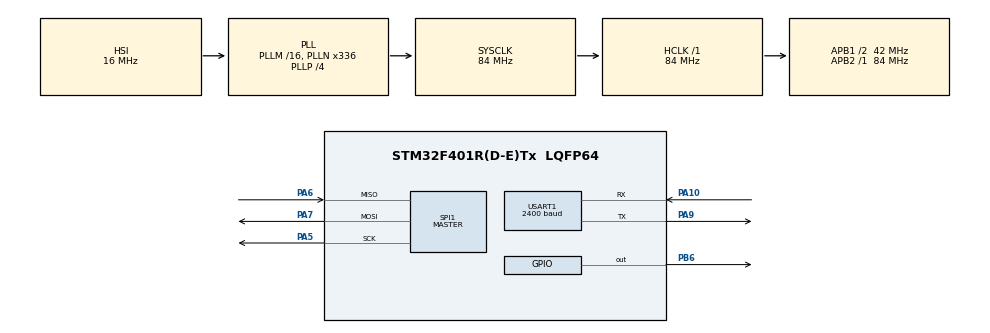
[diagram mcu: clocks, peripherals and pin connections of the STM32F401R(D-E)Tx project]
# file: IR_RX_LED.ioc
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Dma.Request0=SPI1_TX
Dma.SPI1_TX.0.Direction=DMA_MEMORY_TO_PERIPH
Dma.SPI1_TX.0.FIFOMode=DMA_FIFOMODE_DISABLE
Dma.SPI1_TX.0.Instance=DMA2_Stream3
Dma.SPI1_TX.0.MemDataAlignment=DMA_MDATAALIGN_BYTE
Dma.SPI1_TX.0.MemInc=DMA_MINC_ENABLE
Dma.SPI1_TX.0.Mode=DMA_NORMAL
Dma.SPI1_TX.0.PeriphDataAlignment=DMA_PDATAALIGN_BYTE
Dma.SPI1_TX.0.PeriphInc=DMA_PINC_DISABLE
Dma.SPI1_TX.0.Priority=DMA_PRIORITY_HIGH
Mcu.Family=STM32F4
Mcu.Name=STM32F401R(D-E)Tx
Mcu.Package=LQFP64
NVIC.DMA2_Stream3_IRQn=true\:0\:0\:false\:false\:true\:false\:true\:true
NVIC.PriorityGroup=NVIC_PRIORITYGROUP_4
NVIC.SPI1_IRQn=true\:0\:0\:false\:false\:true\:true\:true\:true
NVIC.TIM5_IRQn=true\:3\:0\:true\:false\:true\:true\:true\:true
NVIC.USART1_IRQn=true\:0\:0\:false\:false\:true\:true\:true\:true
PA10.Mode=Asynchronous
PA10.Signal=USART1_RX
PA13.GPIO_Label=TMS
PA13.Mode=Trace_Asynchronous_SW
PA13.Signal=SYS_JTMS-SWDIO
PA14.GPIO_Label=TCK
PA14.Mode=Trace_Asynchronous_SW
PA14.Signal=SYS_JTCK-SWCLK
PA5.Mode=Full_Duplex_Master
PA5.Signal=SPI1_SCK
PA6.Mode=Full_Duplex_Master
PA6.Signal=SPI1_MISO
PA7.Mode=Full_Duplex_Master
PA7.Signal=SPI1_MOSI
PA9.Mode=Asynchronous
PA9.Signal=USART1_TX
PB3.GPIO_Label=SWO
PB3.Mode=Trace_Asynchronous_SW
PB3.Signal=SYS_JTDO-SWO
PB6.Signal=GPIO_Output
PC14-OSC32_IN.Mode=LSE-External-Oscillator
PC14-OSC32_IN.Signal=RCC_OSC32_IN
PC15-OSC32_OUT.Mode=LSE-External-Oscillator
PC15-OSC32_OUT.Signal=RCC_OSC32_OUT
PH0\ -\ OSC_IN.Mode=HSE-External-Clock-Source
PH0\ -\ OSC_IN.Signal=RCC_OSC_IN
PH1\ -\ OSC_OUT.Mode=HSE-External-Clock-Source
PH1\ -\ OSC_OUT.Signal=RCC_OSC_OUT
ProjectManager.HeapSize=0x200
ProjectManager.StackSize=0x400
ProjectManager.TargetToolchain=STM32CubeIDE
RCC.48MHZClocksFreq_Value=48000000
RCC.AHBFreq_Value=84000000
RCC.APB1CLKDivider=RCC_HCLK_DIV2
RCC.APB1Freq_Value=42000000
RCC.APB1TimFreq_Value=84000000
RCC.APB2Freq_Value=84000000
RCC.APB2TimFreq_Value=84000000
RCC.CortexFreq_Value=84000000
RCC.HCLKFreq_Value=84000000
RCC.HSE_VALUE=8000000
RCC.HSI_VALUE=16000000
RCC.PLLN=336
RCC.PLLP=RCC_PLLP_DIV4
RCC.PLLQ=7
RCC.SYSCLKFreq_VALUE=84000000
RCC.SYSCLKSource=RCC_SYSCLKSOURCE_PLLCLK
RCC.VCOOutputFreq_Value=336000000
SPI1.BaudRatePrescaler=SPI_BAUDRATEPRESCALER_4
SPI1.Direction=SPI_DIRECTION_2LINES
SPI1.Mode=SPI_MODE_MASTER
SPI1.VirtualType=VM_MASTER
TIM5.Period=3359
TIM5.Prescaler=99
USART1.BaudRate=2400
USART1.VirtualMode=VM_ASYNC
VP_TIM5_VS_ClockSourceINT.Mode=Internal
board=NUCLEO-F401RE

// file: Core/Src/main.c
/* USER CODE BEGIN Header */
/**
  ******************************************************************************
  * @file           : main.c
  * @brief          : Main program body
  ******************************************************************************
  * @attention
  *
  * Copyright (c) 2026 STMicroelectronics.
  * All rights reserved.
  *
  * This software is licensed under terms that can be found in the LICENSE file
  * in the root directory of this software component.
  * If no LICENSE file comes with this software, it is provided AS-IS.
  *
  ******************************************************************************
  */
/* USER CODE END Header */
#include "main.h"

/* USER CODE BEGIN Includes */
#include "stdio.h"
#include "string.h"

/* USER CODE END Includes */

/* USER CODE BEGIN PTD */
// Keyboard
typedef struct {
	char character;
	uint8_t idx;
} button;

/* USER CODE END PTD */

/* USER CODE BEGIN PD */
// KEYBOARD
// Keyboard Dimension
#define DIM 4

// LED MATRIX
#define NUM_COLS_LED 5
#define NUM_SYMBOLS 16
#define RCLK_PORT GPIOB
#define RCLK_PIN  GPIO_PIN_6

/* USER CODE END PD */

SPI_HandleTypeDef hspi1;
DMA_HandleTypeDef hdma_spi1_tx;

TIM_HandleTypeDef htim5;

UART_HandleTypeDef huart1;

/* USER CODE BEGIN PV */
// KEYBOARD
volatile button keyboard[DIM][DIM] = {
    { {'C', 12}, {'D', 13}, {'E', 14}, {'F', 15} },
    { {'8', 8}, {'9', 9}, {'A', 10}, {'B', 11} },
    { {'4', 4}, {'5', 5}, {'6', 6}, {'7', 7} },
    { {'0', 0}, {'1', 1}, {'2', 2}, {'3', 3} }
};

// RX IR
uint8_t rx_data_buffer; // Byte ricevuto dall'IR
volatile uint8_t ir_received_char = 0;
volatile uint8_t ir_data_ready = 0;

// LED MATRIX
static const uint8_t COL_LED[NUM_COLS_LED] = {16, 8, 4, 2, 1};
static const uint8_t SYMBOLS[NUM_SYMBOLS+1][NUM_COLS_LED] = {
    { 62,  69,  73,  81,  62}, // '0'
    {  0,  33, 127,   1,   0}, // '1'
    { 33,  67,  69,  73,  49}, // '2'
    { 34,  65,  73,  73,  54}, // '3'
    { 12,  20,  36, 127,   4}, // '4'
    {114,  81,  81,  81,  78}, // '5'
    { 30,  41,  73,  73,   6}, // '6'
    { 64,  71,  72,  80,  96}, // '7'
    { 54,  73,  73,  73,  54}, // '8'
    { 48,  73,  73,  74,  60}, // '9'
    { 63,  72,  72,  72,  63}, // 'A'
    {127,  73,  73,  73,  54}, // 'B'
    { 62,  65,  65,  65,  34}, // 'C'
    {127,  65,  65,  65,  62}, // 'D'
    {127,  73,  73,  73,  65}, // 'E'
    {127,  72,  72,  72,  64}, // 'F'
    {  0,   0,   0,   0,   0}  // spento
};
static volatile uint8_t sym_idx = NUM_SYMBOLS;   // cosa mostra la matrice (spenta se NUM_SYMBOLS)
static uint8_t col_cnt = 0;                // colonna della matrice in refresh

/* USER CODE END PV */

void SystemClock_Config(void);
static void MX_GPIO_Init(void);
static void MX_DMA_Init(void);
static void MX_USART1_UART_Init(void);
static void MX_SPI1_Init(void);
static void MX_TIM5_Init(void);

/* USER CODE BEGIN 0 */
static inline void spi_send(uint8_t col, uint8_t row){
	static uint8_t buffer[2]; // 2 byte
	// DAISY RING
	buffer[0]=row; // prima la riga
	buffer[1]=col; // poi la colonna

	// Ogni 4 ms trasmettiamo (refreshamo)
	HAL_SPI_Transmit_DMA(&hspi1, buffer, 2);
}

void HAL_SPI_TxCpltCallback(SPI_HandleTypeDef *hspi){
	if(hspi->Instance==SPI1){
		// Una volta terminata la comunicazione dei 2 byte
		// diamo un impulso su RCLK per far scattare il latch
		// dei due shift register
		HAL_GPIO_WritePin(RCLK_PORT, RCLK_PIN, GPIO_PIN_SET);
		HAL_GPIO_WritePin(RCLK_PORT, RCLK_PIN, GPIO_PIN_RESET);
	}
}

void HAL_TIM_PeriodElapsedCallback(TIM_HandleTypeDef *htim)
{
    if (htim->Instance == TIM5) { // 4ms, refresh colonne
    	spi_send(COL_LED[col_cnt], SYMBOLS[sym_idx][col_cnt]);
    	col_cnt=(col_cnt+1)%NUM_COLS_LED;
    }

}

void HAL_UART_RxCpltCallback(UART_HandleTypeDef *huart)
{
    if (huart->Instance == USART1)
    {
    	ir_received_char = rx_data_buffer;
    	ir_data_ready = 1; // Siamo pronti a scrivere sulla matrice Led
        HAL_UART_Receive_IT(&huart1, &rx_data_buffer, 1); // ci rimettiamo in ascolto
    }

}

/* Logica ASCII nel while
 * static uint8_t char_to_idx(uint8_t c)
{
    if (c >= '0' && c <= '9') return c - '0';
    if (c >= 'A' && c <= 'F') return c - 'A' + 10;
    return NUM_SYMBOLS;   // carattere sconosciuto -> matrice spenta
}
 */

/* USER CODE END 0 */

int main(void)
{

  /* MCU Configuration--------------------------------------------------------*/

  /* Reset of all peripherals, Initializes the Flash interface and the Systick. */
  HAL_Init();

  /* Configure the system clock */
  SystemClock_Config();

  /* Initialize all configured peripherals */
  MX_GPIO_Init();
  MX_DMA_Init();
  MX_USART1_UART_Init();
  MX_SPI1_Init();
  MX_TIM5_Init();
  /* USER CODE BEGIN 2 */

  // Prepara alla ricezione la UART1
  HAL_UART_Receive_IT(&huart1, &rx_data_buffer, 1);

  // Matrice Led
  HAL_TIM_Base_Start_IT(&htim5);

  /* USER CODE END 2 */

  /* Infinite loop */
  while (1)
  {

    /* USER CODE BEGIN 3 */

	  	  // MATRICE LED
	  	  if (ir_data_ready==1){
	  		  // Cerca l'idx del simbolo da mostrare

	  		  // Tramite i for
	  		  for (int j=0; j<DIM; j++){
	  			  for (int i=0; i<DIM; i++){
	  				  if(ir_received_char == keyboard[i][j].character){
	  					  sym_idx=keyboard[i][j].idx;
	  				  }
	  			  }
	  		  }
	  		  ir_data_ready = 0;

	  		  /* o tramite la logica ASCII
	  		   * if (ir_data_ready) {
					sym_idx = char_to_idx(ir_received_char);
					ir_data_ready = 0;
				}
	  		   */
	  	  }

  }
  /* USER CODE END 3 */
}

void SystemClock_Config(void)
{
  RCC_OscInitTypeDef RCC_OscInitStruct = {0};
  RCC_ClkInitTypeDef RCC_ClkInitStruct = {0};

  /** Configure the main internal regulator output voltage
  */
  __HAL_RCC_PWR_CLK_ENABLE();
  __HAL_PWR_VOLTAGESCALING_CONFIG(PWR_REGULATOR_VOLTAGE_SCALE2);

  /** Initializes the RCC Oscillators according to the specified parameters
  * in the RCC_OscInitTypeDef structure.
  */
  RCC_OscInitStruct.OscillatorType = RCC_OSCILLATORTYPE_HSI;
  RCC_OscInitStruct.HSIState = RCC_HSI_ON;
  RCC_OscInitStruct.HSICalibrationValue = RCC_HSICALIBRATION_DEFAULT;
  RCC_OscInitStruct.PLL.PLLState = RCC_PLL_ON;
  RCC_OscInitStruct.PLL.PLLSource = RCC_PLLSOURCE_HSI;
  RCC_OscInitStruct.PLL.PLLM = 16;
  RCC_OscInitStruct.PLL.PLLN = 336;
  RCC_OscInitStruct.PLL.PLLP = RCC_PLLP_DIV4;
  RCC_OscInitStruct.PLL.PLLQ = 7;
  if (HAL_RCC_OscConfig(&RCC_OscInitStruct) != HAL_OK)
  {
    Error_Handler();
  }

  /** Initializes the CPU, AHB and APB buses clocks
  */
  RCC_ClkInitStruct.ClockType = RCC_CLOCKTYPE_HCLK|RCC_CLOCKTYPE_SYSCLK
                              |RCC_CLOCKTYPE_PCLK1|RCC_CLOCKTYPE_PCLK2;
  RCC_ClkInitStruct.SYSCLKSource = RCC_SYSCLKSOURCE_PLLCLK;
  RCC_ClkInitStruct.AHBCLKDivider = RCC_SYSCLK_DIV1;
  RCC_ClkInitStruct.APB1CLKDivider = RCC_HCLK_DIV2;
  RCC_ClkInitStruct.APB2CLKDivider = RCC_HCLK_DIV1;

  if (HAL_RCC_ClockConfig(&RCC_ClkInitStruct, FLASH_LATENCY_2) != HAL_OK)
  {
    Error_Handler();
  }
}

static void MX_SPI1_Init(void)
{

  /* SPI1 parameter configuration*/
  hspi1.Instance = SPI1;
  hspi1.Init.Mode = SPI_MODE_MASTER;
  hspi1.Init.Direction = SPI_DIRECTION_2LINES;
  hspi1.Init.DataSize = SPI_DATASIZE_8BIT;
  hspi1.Init.CLKPolarity = SPI_POLARITY_LOW;
  hspi1.Init.CLKPhase = SPI_PHASE_1EDGE;
  hspi1.Init.NSS = SPI_NSS_SOFT;
  hspi1.Init.BaudRatePrescaler = SPI_BAUDRATEPRESCALER_4;
  hspi1.Init.FirstBit = SPI_FIRSTBIT_MSB;
  hspi1.Init.TIMode = SPI_TIMODE_DISABLE;
  hspi1.Init.CRCCalculation = SPI_CRCCALCULATION_DISABLE;
  hspi1.Init.CRCPolynomial = 10;
  if (HAL_SPI_Init(&hspi1) != HAL_OK)
  {
    Error_Handler();
  }

}

static void MX_TIM5_Init(void)
{

  TIM_ClockConfigTypeDef sClockSourceConfig = {0};
  TIM_MasterConfigTypeDef sMasterConfig = {0};

  htim5.Instance = TIM5;
  htim5.Init.Prescaler = 99;
  htim5.Init.CounterMode = TIM_COUNTERMODE_UP;
  htim5.Init.Period = 3359;
  htim5.Init.ClockDivision = TIM_CLOCKDIVISION_DIV1;
  htim5.Init.AutoReloadPreload = TIM_AUTORELOAD_PRELOAD_DISABLE;
  if (HAL_TIM_Base_Init(&htim5) != HAL_OK)
  {
    Error_Handler();
  }
  sClockSourceConfig.ClockSource = TIM_CLOCKSOURCE_INTERNAL;
  if (HAL_TIM_ConfigClockSource(&htim5, &sClockSourceConfig) != HAL_OK)
  {
    Error_Handler();
  }
  sMasterConfig.MasterOutputTrigger = TIM_TRGO_RESET;
  sMasterConfig.MasterSlaveMode = TIM_MASTERSLAVEMODE_DISABLE;
  if (HAL_TIMEx_MasterConfigSynchronization(&htim5, &sMasterConfig) != HAL_OK)
  {
    Error_Handler();
  }

}

static void MX_USART1_UART_Init(void)
{

  huart1.Instance = USART1;
  huart1.Init.BaudRate = 2400;
  huart1.Init.WordLength = UART_WORDLENGTH_8B;
  huart1.Init.StopBits = UART_STOPBITS_1;
  huart1.Init.Parity = UART_PARITY_NONE;
  huart1.Init.Mode = UART_MODE_TX_RX;
  huart1.Init.HwFlowCtl = UART_HWCONTROL_NONE;
  huart1.Init.OverSampling = UART_OVERSAMPLING_16;
  if (HAL_UART_Init(&huart1) != HAL_OK)
  {
    Error_Handler();
  }

}

static void MX_DMA_Init(void)
{

  /* DMA controller clock enable */
  __HAL_RCC_DMA2_CLK_ENABLE();

  /* DMA interrupt init */
  /* DMA2_Stream3_IRQn interrupt configuration */
  HAL_NVIC_SetPriority(DMA2_Stream3_IRQn, 0, 0);
  HAL_NVIC_EnableIRQ(DMA2_Stream3_IRQn);

}

static void MX_GPIO_Init(void)
{
  GPIO_InitTypeDef GPIO_InitStruct = {0};

  /* GPIO Ports Clock Enable */
  __HAL_RCC_GPIOC_CLK_ENABLE();
  __HAL_RCC_GPIOH_CLK_ENABLE();
  __HAL_RCC_GPIOA_CLK_ENABLE();
  __HAL_RCC_GPIOB_CLK_ENABLE();

  /*Configure GPIO pin Output Level */
  HAL_GPIO_WritePin(GPIOB, GPIO_PIN_6, GPIO_PIN_RESET);

  /*Configure GPIO pin : PB6 */
  GPIO_InitStruct.Pin = GPIO_PIN_6;
  GPIO_InitStruct.Mode = GPIO_MODE_OUTPUT_PP;
  GPIO_InitStruct.Pull = GPIO_NOPULL;
  GPIO_InitStruct.Speed = GPIO_SPEED_FREQ_LOW;
  HAL_GPIO_Init(GPIOB, &GPIO_InitStruct);

}

void Error_Handler(void)
{
  __disable_irq();
  while (1)
  {
  }
}
